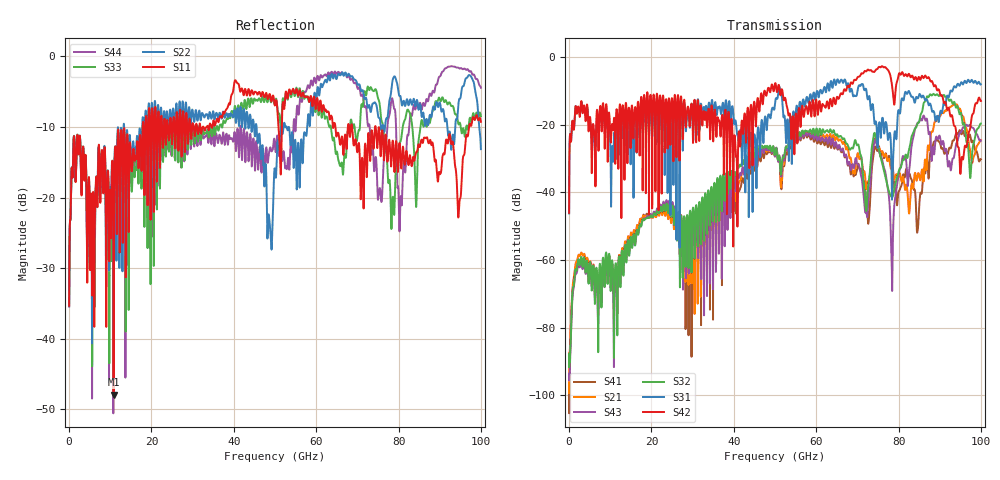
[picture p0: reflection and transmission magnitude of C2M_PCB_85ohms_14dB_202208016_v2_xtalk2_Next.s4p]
! Info: Touchstone file created by Circ.  Input file=Intel_C2M_200G_3p5in_202208016_staggered.circ
# Hz S RI R 50
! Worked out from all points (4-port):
!   10000 points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, 10 MHz to 100 GHz, reference 50 ohm
!   strongest paths, dB at 10 MHz, 25.01 GHz, 50.01 GHz, 75.01 GHz, 100 GHz:
!     S42: -46.1, -12.3, -7.9, -3.3, -13.0
!     S31: -46.3, -14.1, -13.7, -25.1, -8.1
!     S32: -90.6, -44.5, -28.8, -26.0, -19.7
!     S43: -94.2, -43.0, -29.5, -26.5, -24.8
!     S21: -99.3, -45.9, -28.9, -25.9, -24.6
!     S41: -97.7, -44.9, -29.4, -27.6, -30.2
!   lowest |S11| = -47.9 dB at 10.82 GHz (marker M1), VSWR 1.01, Z = 49.9 - j0.393 ohm
!   |S11| at or under -10 dB: start of sweep to 17.88 GHz; 68.74 GHz to 74.3 GHz (5.556 GHz wide, 7.77 % of centre); 74.45 GHz to 97.12 GHz (22.67 GHz wide, 26.4 % of centre)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
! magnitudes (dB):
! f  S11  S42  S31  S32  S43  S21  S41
! 10 MHz  -35.3  -46.1  -46.3  -90.6  -94.2  -99.3  -97.7
! 10.82 GHz  -47.9  -19.5  -26.5  -73.0  -78.7  -65.4  -68.2
! 56.18 GHz  -5.1  -20.6  -13.8  -23.3  -24.2  -23.4  -24.7
! 74.58 GHz  -10.8  -3.7  -19.5  -24.2  -25.5  -24.9  -27.1
! 78.4 GHz  -13.3  -8.2  -41.8  -41.4  -64.9  -33.1  -32.1
! 85 GHz  -12.7  -6.0  -11.1  -19.2  -19.3  -34.9  -44.7
! 100 GHz  -9.3  -13.0  -8.1  -19.7  -24.8  -24.6  -30.2
